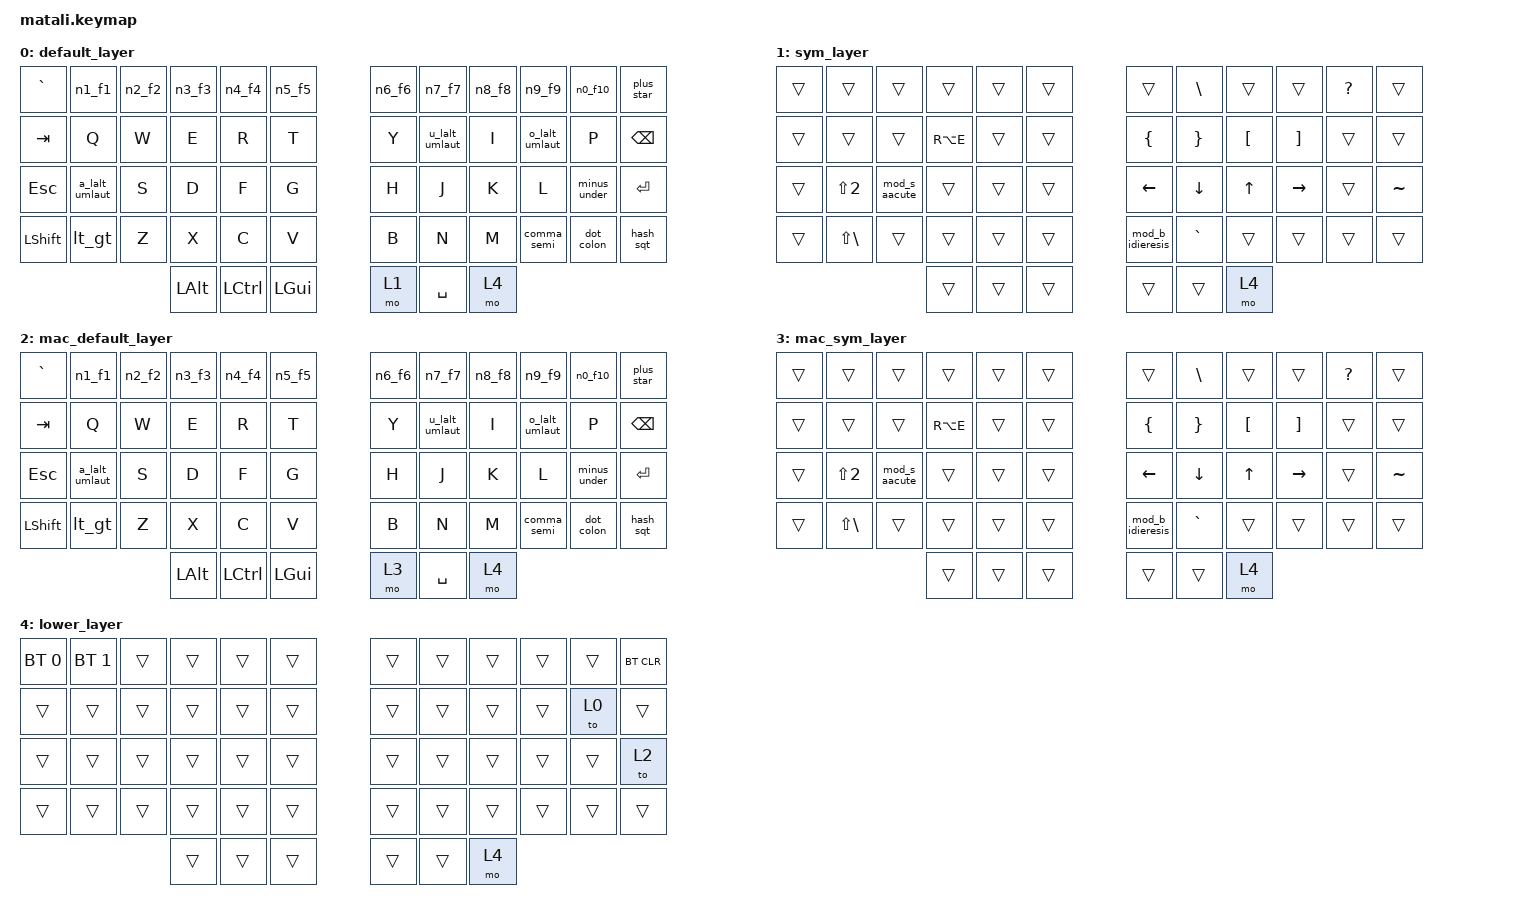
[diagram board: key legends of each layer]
/*
 * Copyright (c) 2020 The ZMK Contributors
 *
 * SPDX-License-Identifier: MIT
 */

#include <behaviors.dtsi>
#include <dt-bindings/zmk/keys.h>
#include <dt-bindings/zmk/bt.h>


/ {
        macros {
                mod_s_aacute: mod_s_aacute {
                        compatible = "zmk,behavior-macro";
                        #binding-cells = <0>;
                        // Dead acute, then a (intl layout output)
                        bindings = <&macro_tap &kp SQT &kp A>;
                };
                mod_b_idieresis: mod_b_idieresis {
                        compatible = "zmk,behavior-macro";
                        #binding-cells = <0>;
                        // Dead diaeresis, then i (intl layout output)
                        bindings = <&macro_tap &kp DQT &kp I>;
                };
                mac_adiaeresis: mac_adiaeresis {
                        compatible = "zmk,behavior-macro";
                        #binding-cells = <0>;
                        bindings = <&macro_tap &kp LA(U) &kp A>;
                };
                mac_odiaeresis: mac_odiaeresis {
                        compatible = "zmk,behavior-macro";
                        #binding-cells = <0>;
                        bindings = <&macro_tap &kp LA(U) &kp O>;
                };
                mac_udiaeresis: mac_udiaeresis {
                        compatible = "zmk,behavior-macro";
                        #binding-cells = <0>;
                        bindings = <&macro_tap &kp LA(U) &kp U>;
                };
        };

        behaviors {
                // Number row with SHIFT modifiers
                n1_excl: n1_excl {
                        compatible = "zmk,behavior-mod-morph";
                        #binding-cells = <0>;
                        bindings = <&kp N1>, <&kp EXCL>;
                        mods = <(MOD_LSFT|MOD_RSFT)>;
                };
                n2_dqt: n2_dqt {
                        compatible = "zmk,behavior-mod-morph";
                        #binding-cells = <0>;
                        bindings = <&kp N2>, <&kp DQT>;
                        mods = <(MOD_LSFT|MOD_RSFT)>;
                };
                n3_sect: n3_sect {
                        compatible = "zmk,behavior-mod-morph";
                        #binding-cells = <0>;
                        bindings = <&kp N3>, <&kp LS(N3)>;
                        mods = <(MOD_LSFT|MOD_RSFT)>;
                };
                n4_dllr: n4_dllr {
                        compatible = "zmk,behavior-mod-morph";
                        #binding-cells = <0>;
                        bindings = <&kp N4>, <&kp DLLR>;
                        mods = <(MOD_LSFT|MOD_RSFT)>;
                };
                n5_prcnt: n5_prcnt {
                        compatible = "zmk,behavior-mod-morph";
                        #binding-cells = <0>;
                        bindings = <&kp N5>, <&kp PRCNT>;
                        mods = <(MOD_LSFT|MOD_RSFT)>;
                };
                n6_amps: n6_amps {
                        compatible = "zmk,behavior-mod-morph";
                        #binding-cells = <0>;
                        bindings = <&kp N6>, <&kp AMPS>;
                        mods = <(MOD_LSFT|MOD_RSFT)>;
                };
                n7_fslh: n7_fslh {
                        compatible = "zmk,behavior-mod-morph";
                        #binding-cells = <0>;
                        bindings = <&kp N7>, <&kp FSLH>;
                        mods = <(MOD_LSFT|MOD_RSFT)>;
                };
                n8_lpar: n8_lpar {
                        compatible = "zmk,behavior-mod-morph";
                        #binding-cells = <0>;
                        bindings = <&kp N8>, <&kp LPAR>;
                        mods = <(MOD_LSFT|MOD_RSFT)>;
                };
                n9_rpar: n9_rpar {
                        compatible = "zmk,behavior-mod-morph";
                        #binding-cells = <0>;
                        bindings = <&kp N9>, <&kp RPAR>;
                        mods = <(MOD_LSFT|MOD_RSFT)>;
                };
                n0_equal: n0_equal {
                        compatible = "zmk,behavior-mod-morph";
                        #binding-cells = <0>;
                        bindings = <&kp N0>, <&kp EQUAL>;
                        mods = <(MOD_LSFT|MOD_RSFT)>;
                };

                // Number row with L-ALT for F-keys
                n1_f1: n1_f1 {
                        compatible = "zmk,behavior-mod-morph";
                        #binding-cells = <0>;
                        bindings = <&n1_excl>, <&kp F1>;
                        mods = <(MOD_LALT)>;
                };
                n2_f2: n2_f2 {
                        compatible = "zmk,behavior-mod-morph";
                        #binding-cells = <0>;
                        bindings = <&n2_dqt>, <&kp F2>;
                        mods = <(MOD_LALT)>;
                };
                n3_f3: n3_f3 {
                        compatible = "zmk,behavior-mod-morph";
                        #binding-cells = <0>;
                        bindings = <&n3_sect>, <&kp F3>;
                        mods = <(MOD_LALT)>;
                };
                n4_f4: n4_f4 {
                        compatible = "zmk,behavior-mod-morph";
                        #binding-cells = <0>;
                        bindings = <&n4_dllr>, <&kp F4>;
                        mods = <(MOD_LALT)>;
                };
                n5_f5: n5_f5 {
                        compatible = "zmk,behavior-mod-morph";
                        #binding-cells = <0>;
                        bindings = <&n5_prcnt>, <&kp F5>;
                        mods = <(MOD_LALT)>;
                };
                n6_f6: n6_f6 {
                        compatible = "zmk,behavior-mod-morph";
                        #binding-cells = <0>;
                        bindings = <&n6_amps>, <&kp F6>;
                        mods = <(MOD_LALT)>;
                };
                n7_f7: n7_f7 {
                        compatible = "zmk,behavior-mod-morph";
                        #binding-cells = <0>;
                        bindings = <&n7_fslh>, <&kp F7>;
                        mods = <(MOD_LALT)>;
                };
                n8_f8: n8_f8 {
                        compatible = "zmk,behavior-mod-morph";
                        #binding-cells = <0>;
                        bindings = <&n8_lpar>, <&kp F8>;
                        mods = <(MOD_LALT)>;
                };
                n9_f9: n9_f9 {
                        compatible = "zmk,behavior-mod-morph";
                        #binding-cells = <0>;
                        bindings = <&n9_rpar>, <&kp F9>;
                        mods = <(MOD_LALT)>;
                };
                n0_f10: n0_f10 {
                        compatible = "zmk,behavior-mod-morph";
                        #binding-cells = <0>;
                        bindings = <&n0_equal>, <&kp F10>;
                        mods = <(MOD_LALT)>;
                };
                n7_ralt_bslh: n7_ralt_bslh {
                        compatible = "zmk,behavior-mod-morph";
                        #binding-cells = <0>;
                        bindings = <&n7_f7>, <&kp BSLH>;
                        mods = <(MOD_RALT)>;
                };
                n0_ralt_qmark: n0_ralt_qmark {
                        compatible = "zmk,behavior-mod-morph";
                        #binding-cells = <0>;
                        bindings = <&n0_f10>, <&kp QMARK>;
                        mods = <(MOD_RALT)>;
                };
                // Letters and symbols with L-ALT / R-ALT
                a_lalt_umlaut: a_lalt_umlaut {
                        compatible = "zmk,behavior-mod-morph";
                        #binding-cells = <0>;
                        bindings = <&kp A>, <&mac_adiaeresis>;
                        mods = <(MOD_LALT)>;
                };
                a_ralt_at: a_ralt_at {
                        compatible = "zmk,behavior-mod-morph";
                        #binding-cells = <0>;
                        bindings = <&a_lalt_umlaut>, <&kp LS(N2)>; // @
                        mods = <(MOD_RALT)>;
                };
                s_ralt_sz: s_ralt_sz {
                        compatible = "zmk,behavior-mod-morph";
                        #binding-cells = <0>;
                        bindings = <&kp S>, <&kp RA(S)>;
                        mods = <(MOD_RALT)>;
                };
                e_ralt_euro: e_ralt_euro {
                        compatible = "zmk,behavior-mod-morph";
                        #binding-cells = <0>;
                        bindings = <&kp E>, <&kp RA(E)>;
                        mods = <(MOD_RALT)>;
                };
                lt_gt: lt_gt {
                        compatible = "zmk,behavior-mod-morph";
                        #binding-cells = <0>;
                        bindings = <&kp LT>, <&kp GT>;
                        mods = <(MOD_LSFT|MOD_RSFT)>;
                };
                lt_ralt_pipe: lt_ralt_pipe {
                        compatible = "zmk,behavior-mod-morph";
                        #binding-cells = <0>;
                        bindings = <&lt_gt>, <&kp LS(BSLH)>; // |
                        mods = <(MOD_RALT)>;
                };
                z_ralt_lbrc: z_ralt_lbrc {
                        compatible = "zmk,behavior-mod-morph";
                        #binding-cells = <0>;
                        bindings = <&kp Z>, <&kp LBRC>;
                        mods = <(MOD_RALT)>;
                };
                u_lalt_umlaut: u_lalt_umlaut {
                        compatible = "zmk,behavior-mod-morph";
                        #binding-cells = <0>;
                        bindings = <&kp U>, <&mac_udiaeresis>;
                        mods = <(MOD_LALT)>;
                };
                u_ralt_rbrc: u_ralt_rbrc {
                        compatible = "zmk,behavior-mod-morph";
                        #binding-cells = <0>;
                        bindings = <&u_lalt_umlaut>, <&kp RBRC>;
                        mods = <(MOD_RALT)>;
                };
                i_ralt_lbkt: i_ralt_lbkt {
                        compatible = "zmk,behavior-mod-morph";
                        #binding-cells = <0>;
                        bindings = <&kp I>, <&kp LBKT>;
                        mods = <(MOD_RALT)>;
                };
                o_lalt_umlaut: o_lalt_umlaut {
                        compatible = "zmk,behavior-mod-morph";
                        #binding-cells = <0>;
                        bindings = <&kp O>, <&mac_odiaeresis>;
                        mods = <(MOD_LALT)>;
                };
                o_ralt_rbkt: o_ralt_rbkt {
                        compatible = "zmk,behavior-mod-morph";
                        #binding-cells = <0>;
                        bindings = <&o_lalt_umlaut>, <&kp RBKT>;
                        mods = <(MOD_RALT)>;
                };
                h_ralt_left: h_ralt_left {
                        compatible = "zmk,behavior-mod-morph";
                        #binding-cells = <0>;
                        bindings = <&kp H>, <&kp LEFT>;
                        mods = <(MOD_RALT)>;
                };
                j_ralt_down: j_ralt_down {
                        compatible = "zmk,behavior-mod-morph";
                        #binding-cells = <0>;
                        bindings = <&kp J>, <&kp DOWN>;
                        mods = <(MOD_RALT)>;
                };
                k_ralt_up: k_ralt_up {
                        compatible = "zmk,behavior-mod-morph";
                        #binding-cells = <0>;
                        bindings = <&kp K>, <&kp UP>;
                        mods = <(MOD_RALT)>;
                };
                l_ralt_right: l_ralt_right {
                        compatible = "zmk,behavior-mod-morph";
                        #binding-cells = <0>;
                        bindings = <&kp L>, <&kp RIGHT>;
                        mods = <(MOD_RALT)>;
                };
                b_ralt_grave: b_ralt_grave {
                        compatible = "zmk,behavior-mod-morph";
                        #binding-cells = <0>;
                        bindings = <&kp B>, <&kp COMMA>;
                        mods = <(MOD_RALT)>;
                };
                n_ralt_acute: n_ralt_acute {
                        compatible = "zmk,behavior-mod-morph";
                        #binding-cells = <0>;
                        bindings = <&kp N>, <&kp DOT>;
                        mods = <(MOD_RALT)>;
                };
                comma_semi: comma_semi {
                        compatible = "zmk,behavior-mod-morph";
                        #binding-cells = <0>;
                        bindings = <&kp COMMA>, <&kp SEMI>;
                        mods = <(MOD_LSFT|MOD_RSFT)>;
                };
                hash_sqt: hash_sqt {
                        compatible = "zmk,behavior-mod-morph";
                        #binding-cells = <0>;
                        bindings = <&kp LS(N3)>, <&kp SQT>;
                        mods = <(MOD_LSFT|MOD_RSFT)>;
                };

                // Special characters
                plus_star: plus_star {
                        compatible = "zmk,behavior-mod-morph";
                        #binding-cells = <0>;
                        bindings = <&kp PLUS>, <&kp STAR>;
                        mods = <(MOD_LSFT|MOD_RSFT)>;
                };
                plus_tilde: plus_tilde {
                        compatible = "zmk,behavior-mod-morph";
                        #binding-cells = <0>;
                        bindings = <&plus_star>, <&kp TILDE>;
                        mods = <(MOD_RALT)>;
                };
                
                dot_colon: dot_colon {
                        compatible = "zmk,behavior-mod-morph";
                        #binding-cells = <0>;
                        bindings = <&kp DOT>, <&kp COLON>;
                        mods = <(MOD_LSFT|MOD_RSFT)>;
                };
                
                minus_under: minus_under {
                        compatible = "zmk,behavior-mod-morph";
                        #binding-cells = <0>;
                        bindings = <&kp MINUS>, <&kp UNDER>;
                        mods = <(MOD_LSFT|MOD_RSFT)>;
                };
        };

        keymap {
                compatible = "zmk,keymap";

                default_layer {
// -----------------------------------------------------------------------------------------
// |  ^  |  1  |  2  |  3  |  4  |  5  |   |  6  |  7  |  8  |  9  |  0  | BSPC |
// | TAB |  Q  |  W  |  E  |  R  |  T  |   |  Y  |  U  |  I  |  O  |  P  | RET  |
// | ESC |  A  |  S  |  D  |  F  |  G  |   |  H  |  J  |  K  |  L  |  -  |  +   |
// | SHFT|  <  |  Z  |  X  |  C  |  V  |   |  B  |  N  |  M  |  ,  |  .  |  #   |
//                    | LALT| CTRL| WIN |   | SYM | SPACE| LYR |

bindings = <
   &kp GRAVE &n1_f1 &n2_f2 &n3_f3 &n4_f4 &n5_f5         &n6_f6 &n7_f7 &n8_f8 &n9_f9 &n0_f10 &plus_star
   &kp TAB   &kp Q &kp W &kp E &kp R &kp T               &kp Y &u_lalt_umlaut &kp I &o_lalt_umlaut &kp P &kp BSPC
   &kp ESC   &a_lalt_umlaut &kp S &kp D &kp F &kp G      &kp H &kp J &kp K &kp L &minus_under &kp RET
   &kp LSHFT &lt_gt &kp Z &kp X &kp C &kp V               &kp B &kp N &kp M &comma_semi &dot_colon &hash_sqt
                  &kp LALT &kp LCTRL &kp LGUI               &mo 1 &kp SPACE &mo 4
                        >;
                };
                sym_layer {
// -----------------------------------------------------------------------------------------
// |    |    |    |    |    |    |   |    |  \ |    |    |  ? |      |
// |    |    |    | RALT(E) |    |    |   |  { |  } |  [ |  ] |    |      |
// |    |  @ | RALT(S) |    |    |    |   |  <- |  v |  ^ |  -> |    |  ~   |
// |    |  | |    |    |    |    |   |  , |  . |    |    |    |      |
//                  |    |    |    |   |    |      | LYR |
                        bindings = <
   &trans &trans &trans &trans &trans &trans         &trans &kp BSLH &trans &trans &kp QMARK &trans
   &trans &trans &trans &kp RA(E) &trans &trans      &kp LBRC &kp RBRC &kp LBKT &kp RBKT &trans &trans
   &trans &kp LS(N2) &mod_s_aacute &trans &trans &trans  &kp LEFT &kp DOWN &kp UP &kp RIGHT &trans &kp TILDE
   &trans &kp LS(BSLH) &trans &trans &trans &trans   &mod_b_idieresis &kp GRAVE &trans &trans &trans &trans
                  &trans &trans &trans                &trans &trans &mo 4
                        >;
                };
                mac_default_layer {
// Same physical layout; only SYM key targets mac_sym_layer.
                        bindings = <
   &kp GRAVE &n1_f1 &n2_f2 &n3_f3 &n4_f4 &n5_f5         &n6_f6 &n7_f7 &n8_f8 &n9_f9 &n0_f10 &plus_star
   &kp TAB   &kp Q &kp W &kp E &kp R &kp T               &kp Y &u_lalt_umlaut &kp I &o_lalt_umlaut &kp P &kp BSPC
   &kp ESC   &a_lalt_umlaut &kp S &kp D &kp F &kp G      &kp H &kp J &kp K &kp L &minus_under &kp RET
   &kp LSHFT &lt_gt &kp Z &kp X &kp C &kp V               &kp B &kp N &kp M &comma_semi &dot_colon &hash_sqt
                  &kp LALT &kp LCTRL &kp LGUI               &mo 3 &kp SPACE &mo 4
                        >;
                };
                mac_sym_layer {
                        bindings = <
   &trans &trans &trans &trans &trans &trans         &trans &kp BSLH &trans &trans &kp QMARK &trans
   &trans &trans &trans &kp RA(E) &trans &trans      &kp LBRC &kp RBRC &kp LBKT &kp RBKT &trans &trans
   &trans &kp LS(N2) &mod_s_aacute &trans &trans &trans  &kp LEFT &kp DOWN &kp UP &kp RIGHT &trans &kp TILDE
   &trans &kp LS(BSLH) &trans &trans &trans &trans   &mod_b_idieresis &kp GRAVE &trans &trans &trans &trans
                  &trans &trans &trans                &trans &trans &mo 4
                        >;
                };
                lower_layer{
// Utility layer: OS mode switch + bluetooth profile management.
// -----------------------------------------------------------------------------------------
// | BT1| BT2 |     |     |     |     |      |     |     |     |     |     | CLR|
// |    |     |     |     |     |     |      |     |     |     | WIN |     |    |
// |    |     |     |     |     |     |      |     |     |     |     |     | MAC|
// |    |     |     |     |     |     |      |     |     |     |     |     |    |
//                  |     |     |     |      |     |          | LYR |
                        bindings = <
   &bt BT_SEL 0 &bt BT_SEL 1 &trans &trans &trans &trans         &trans &trans &trans &trans &trans &bt BT_CLR 
   &trans &trans &trans &trans &trans &trans                 &trans &trans &trans &trans &to 0 &trans
   &trans &trans &trans &trans &trans &trans                 &trans &trans &trans &trans &trans &to 2 
   &trans &trans &trans &trans &trans &trans         &trans &trans &trans &trans &trans &trans
                  &trans &trans &trans                &trans &trans &mo 4
                        >;
                };
        };
};
